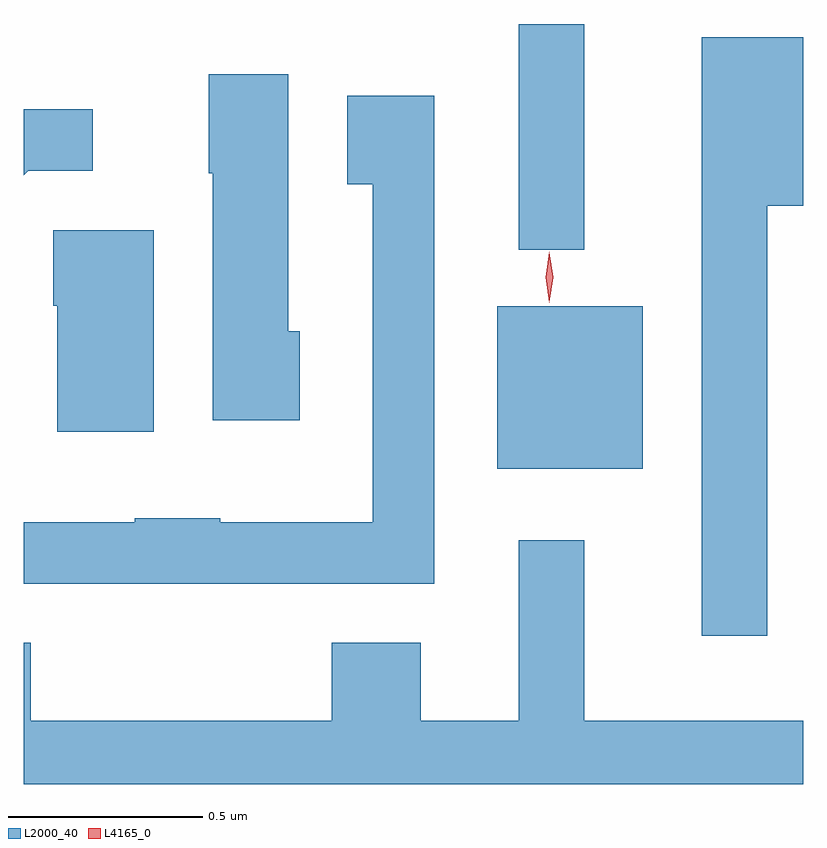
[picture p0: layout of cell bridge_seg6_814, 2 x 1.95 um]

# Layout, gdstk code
import gdstk
lib = gdstk.Library(unit=1e-6, precision=1e-09)
def R(c, l, rs):  # rectangles x0, y0, x1, y1
    for r in rs: c.add(gdstk.rectangle(r[:2], r[2:], *l))
def P(c, l, *ps):  # polygons
    for p in ps: c.add(gdstk.Polygon(p, *l))
L2000_40 = (2000, 40)
L4165_0 = (4165, 0)

bridge_seg6_814 = lib.new_cell('bridge_seg6_814')
R(bridge_seg6_814, L2000_40, [(435.816,1530.971,436.189,1531.389), (435.871,1531.533,436.039,1532.113)])
P(bridge_seg6_814, L2000_40, [(436.509,1531.646),(436.601,1531.646),(436.601,1532.079),(436.341,1532.079),(436.341,1530.543),(436.509,1530.543)],
  [(435.309,1531.324),(435.279,1531.324),(435.279,1531.984),(435.076,1531.984),(435.076,1531.73),(435.086,1531.73),(435.086,1531.096),(435.309,1531.096)],
  [(435.654,1531.929),(435.431,1531.929),(435.431,1531.701),(435.496,1531.701),(435.496,1530.834),(435.105,1530.834),(435.105,1530.844),(434.885,1530.844),(434.885,1530.834),(434.601,1530.834),(434.601,1530.676),(435.654,1530.676)],
  [(434.612,1531.736),(434.778,1531.736),(434.778,1531.894),(434.601,1531.894),(434.601,1531.725)],
  [(434.934,1531.584),(434.676,1531.584),(434.676,1531.39),(434.686,1531.39),(434.686,1531.066),(434.934,1531.066)],
  [(436.601,1530.324),(436.039,1530.324),(436.039,1530.788),(435.871,1530.788),(435.871,1530.324),(435.619,1530.324),(435.619,1530.524),(435.391,1530.524),(435.391,1530.324),(434.619,1530.324),(434.619,1530.524),(434.601,1530.524),(434.601,1530.162),(436.601,1530.162)])
P(bridge_seg6_814, L4165_0, [(435.95,1531.398),(435.949,1531.399),(435.94,1531.463),(435.949,1531.527),(435.95,1531.528),(435.95,1531.527),(435.96,1531.463),(435.95,1531.399)])

lib.write_gds('bridge_seg6_814.gds')
